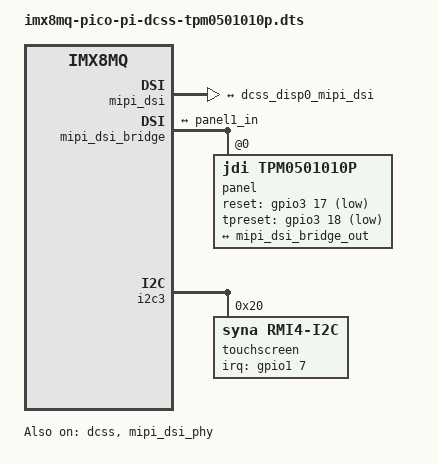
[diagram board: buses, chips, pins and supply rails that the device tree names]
/*
 * Copyright 2019 Linh Nguyen <nvl1109@gmail.com>
 */

/dts-v1/;

#include "imx8mq-pico-pi.dts"

/ {
	sound-hdmi {
		status = "disabled";
	};

	/* PCS was fixed the brightness level, so just enable it */
	backlight_mipi {
		status = "okay";
		default-brightness-level = <6>;
	};
};

/delete-node/ &hdmi_port;

&hdmi {
	status = "disabled";
};

&dcss {
	status = "okay";
	disp-dev = "mipi_disp";

	clocks = <&clk IMX8MQ_CLK_DISP_APB_ROOT>,
		 <&clk IMX8MQ_CLK_DISP_AXI_ROOT>,
		 <&clk IMX8MQ_CLK_DISP_RTRM_ROOT>,
		 <&clk IMX8MQ_CLK_DC_PIXEL>,
		 <&clk IMX8MQ_CLK_DISP_DTRC>;
	clock-names = "apb", "axi", "rtrm", "pix", "dtrc";
	assigned-clocks = <&clk IMX8MQ_CLK_DC_PIXEL>,
			  <&clk IMX8MQ_CLK_DISP_AXI>,
			  <&clk IMX8MQ_CLK_DISP_RTRM>;
	assigned-clock-parents = <&clk IMX8MQ_VIDEO_PLL1_OUT>,
				 <&clk IMX8MQ_SYS1_PLL_800M>,
				 <&clk IMX8MQ_SYS1_PLL_800M>;
	assigned-clock-rates = <600000000>,
			       <800000000>,
			       <400000000>;

	dcss_port: port@0 {
		reg = <0>;

		dcss_disp0_mipi_dsi: endpoint {
			remote-endpoint = <&mipi_dsi_in>;
		};
	};
};

&mipi_dsi_phy {
	status = "okay";
};

&mipi_dsi {
	status = "okay";

	port@1 {
		mipi_dsi_in: endpoint {
			remote-endpoint = <&dcss_disp0_mipi_dsi>;
		};
	};

};

&mipi_dsi_bridge {
	status = "okay";
	clock-drop-level = <2>;

	panel@0 {
		compatible = "jdi,tpm0501010p";
		reg = <0>;
		pinctrl-0 = <&pinctrl_mipi_dsi_en &pinctrl_mipi_dsi_rst>;
		reset-gpio = <&gpio3 17 GPIO_ACTIVE_LOW>;
		tpreset-gpio = <&gpio3 18 GPIO_ACTIVE_LOW>;
		dsi-lanes = <4>;
		video-mode = <2>;
		panel-width-mm = <62>;
		panel-height-mm = <110>;

		display-timings {
			/*timing {
				clock-frequency = <132000000>;
				hactive = <1080>;
				vactive = <1920>;
				hsync-len = <2>;
				hback-porch = <34>;
				hfront-porch = <20>;
				vsync-len = <5>;
				vback-porch = <4>;
				vfront-porch = <10>;
				hsync-active = <0>;
				vsync-active = <0>;
				de-active = <0>;
				pixelclk-active = <0>;
			};*/
			timing {
				clock-frequency = <148500000>;
				hactive = <1080>;
				vactive = <1920>;
				hsync-len = <15>;
				hback-porch = <15>;
				hfront-porch = <90>;
				vsync-len = <8>;
				vback-porch = <8>;
				vfront-porch = <35>;
				hsync-active = <0>;
				vsync-active = <0>;
				de-active = <0>;
				pixelclk-active = <0>;
			};
			/*timing {
				clock-frequency = <74250000>;
				hactive = <1080>;
				vactive = <1920>;
				hsync-len = <22>;
				hback-porch = <85>;
				hfront-porch = <82>;

				vsync-len = <10>;
				vback-porch = <10>;
				vfront-porch = <11>;
				hsync-active = <0>;
				vsync-active = <0>;
				de-active = <0>;
				pixelclk-active = <0>;
			};*/
		};

		port {
			panel1_in: endpoint {
				remote-endpoint = <&mipi_dsi_bridge_out>;
			};
		};
	};

	port@2 {
		mipi_dsi_bridge_out: endpoint {
			remote-endpoint = <&panel1_in>;
		};
	};
};

&iomuxc {
	imx8mq-evk {
		pinctrl_mipi_dsi_en: mipi_dsi_en {
			fsl,pins = <
				MX8MQ_IOMUXC_GPIO1_IO08_GPIO1_IO8	0x16
			>;
		};

	};
};

&i2c3 {
	touchscreen@20 {
		compatible = "syna,rmi4-i2c";
		pinctrl-names = "default";
		pinctrl-0 = <&pinctrl_touch_irq>;
		reg = <0x20>;
		interrupt-parent = <&gpio1>;
		interrupts = <7 IRQ_TYPE_EDGE_FALLING>;
		syna,reset-delay-ms = <100>;
		syna,startup-delay-ms = <100>;

		#address-cells = <1>;
		#size-cells = <0>;

		rmi4-f01@1 {
			reg = <0x1>;
			syna,nosleep-mode = <2>;
		};

		rmi4-f11@11 {
			reg = <0x11>;
			touchscreen-inverted-y;
			touchscreen-swapped-x-y;
			syna,sensor-type = <1>;
		};

		rmi4-f12@12 {
			reg = <0x12>;
			touchscreen-inverted-y;
			touchscreen-swapped-x-y;
			syna,sensor-type = <1>;
		};
	};
};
